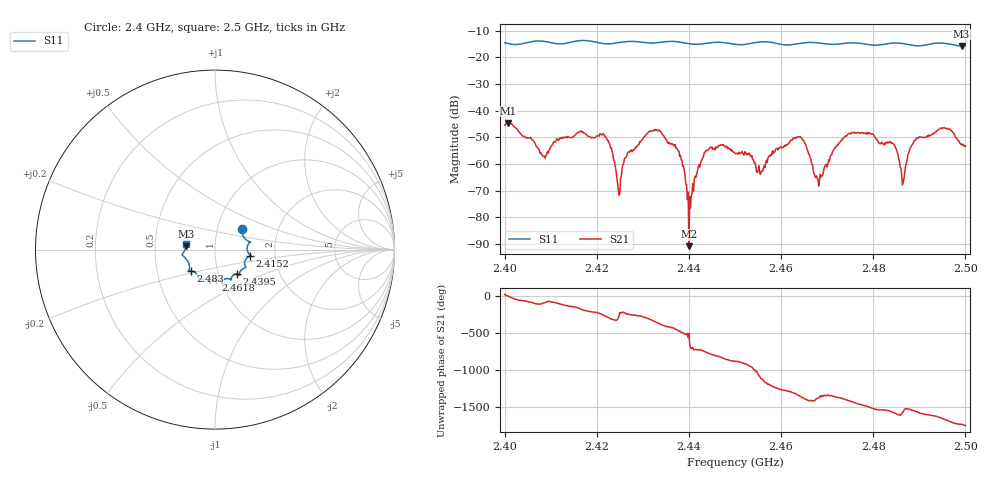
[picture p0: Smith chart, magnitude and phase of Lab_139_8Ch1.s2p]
# Hz S RI R 50
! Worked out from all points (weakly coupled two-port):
!   601 points, 2.4 GHz to 2.5 GHz, reference 50 ohm
!   highest |S21| = -44.58 dB at 2.4007 GHz (marker M1); lowest = -90.9 dB at 2.44 GHz (marker M2)
!   lowest |S11| = -15.7 dB at 2.4992 GHz (marker M3), VSWR 1.39, Z = 36 + j1.34 ohm
!   |S11| at or under -10 dB: start of sweep to end of sweep
!   S12 and S22 are empty: the file has one direction only
!   S11 on the Smith chart (normalised r, x): 2.4 GHz: 1.31, +0.31; 2.4152 GHz: 1.48, -0.10; 2.4395 GHz: 1.23, -0.34; 2.4618 GHz: 0.95, -0.34; 2.483 GHz: 0.74, -0.18; 2.5 GHz: 0.72, +0.05
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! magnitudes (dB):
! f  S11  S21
! 2.4 GHz  -14.5  -45.5
! 2.4007 GHz  -14.8  -44.6
! 2.4085 GHz  -14.0  -57.2
! 2.4152 GHz  -14.0  -49.3
! 2.4167 GHz  -13.7  -48.0
! 2.422 GHz  -14.9  -50.0
! 2.4248 GHz  -14.4  -71.8
! 2.4333 GHz  -14.4  -47.6
! 2.4377 GHz  -14.2  -55.0
! 2.4395 GHz  -14.7  -67.8
! 2.44 GHz  -14.9  -90.9
! 2.4438 GHz  -14.7  -54.9
! 2.45 GHz  -15.1  -55.9
! 2.4553 GHz  -14.2  -62.7
! 2.4618 GHz  -15.3  -51.9
! 2.4667 GHz  -14.4  -60.1
! 2.483 GHz  -14.9  -51.8
! 2.4833 GHz  -14.8  -52.1
! 2.4865 GHz  -14.8  -66.9
! 2.4898 GHz  -15.7  -50.2
! 2.4992 GHz  -15.7  -52.5
! 2.5 GHz  -15.6  -53.3
